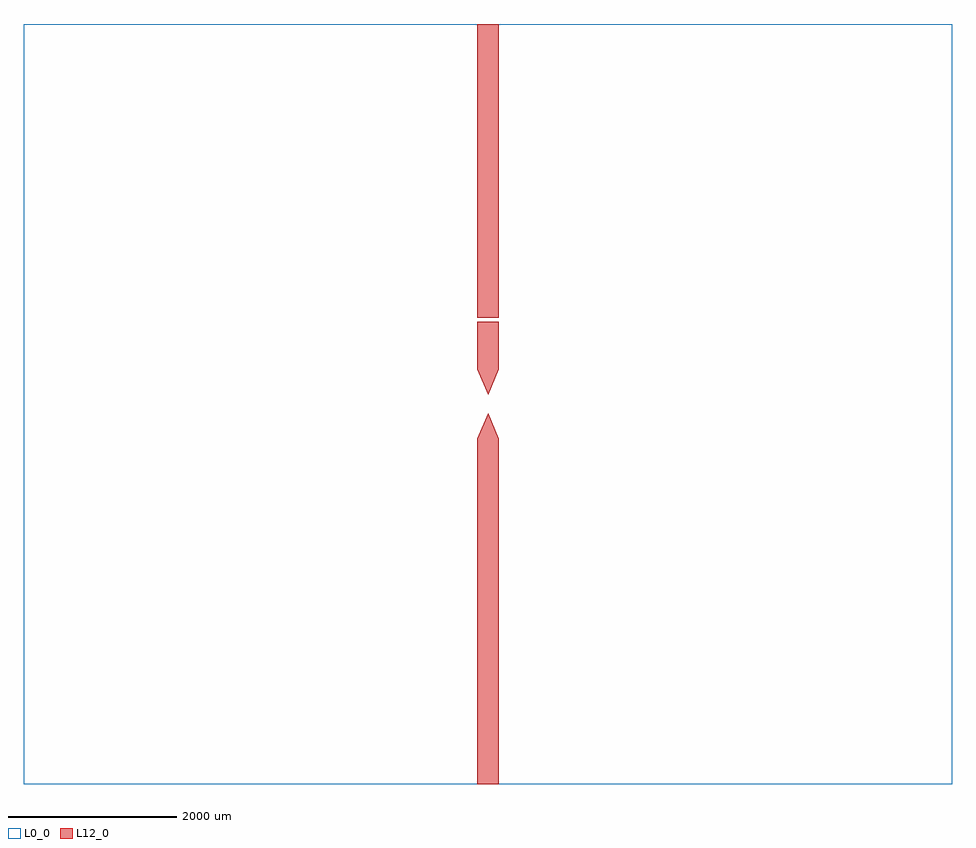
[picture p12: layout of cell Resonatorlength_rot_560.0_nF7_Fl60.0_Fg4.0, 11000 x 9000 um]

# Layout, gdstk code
import gdstk
lib = gdstk.Library(unit=1e-6, precision=1e-09)
def R(c, l, rs):  # rectangles x0, y0, x1, y1
    for r in rs: c.add(gdstk.rectangle(r[:2], r[2:], *l))
def P(c, l, *ps):  # polygons
    for p in ps: c.add(gdstk.Polygon(p, *l))
L0_0 = (0, 0)
L12_0 = (12, 0)

resonatorlength_rot_560_ = lib.new_cell('Resonatorlength_rot_560.0_nF7_Fl60.0_Fg4.0')
R(resonatorlength_rot_560_, L0_0, [(-5500,-4500,5500,4500)])
R(resonatorlength_rot_560_, L12_0, [(-125,-4500,125,-1036), (-125,-1036,-92.714,-976), (-52.429,-1036,-20.143,-976), (20.143,-1036,52.429,-976), (92.714,-1036,125,-976), (-88.714,-1032,-56.429,-972), (-16.143,-1032,16.143,-972), (56.429,-1032,88.714,-972), (-125,-972,125,-412), (-125,412,125,972), (-125,1022,125,4500)])
P(resonatorlength_rot_560_, L12_0, [(-125,-412),(125,-412),(0,-108.5)],
  [(-125,412),(125,412),(0,108.5)])

lib.write_gds('Resonatorlength_rot_560.0_nF7_Fl60.0_Fg4.0.gds')
